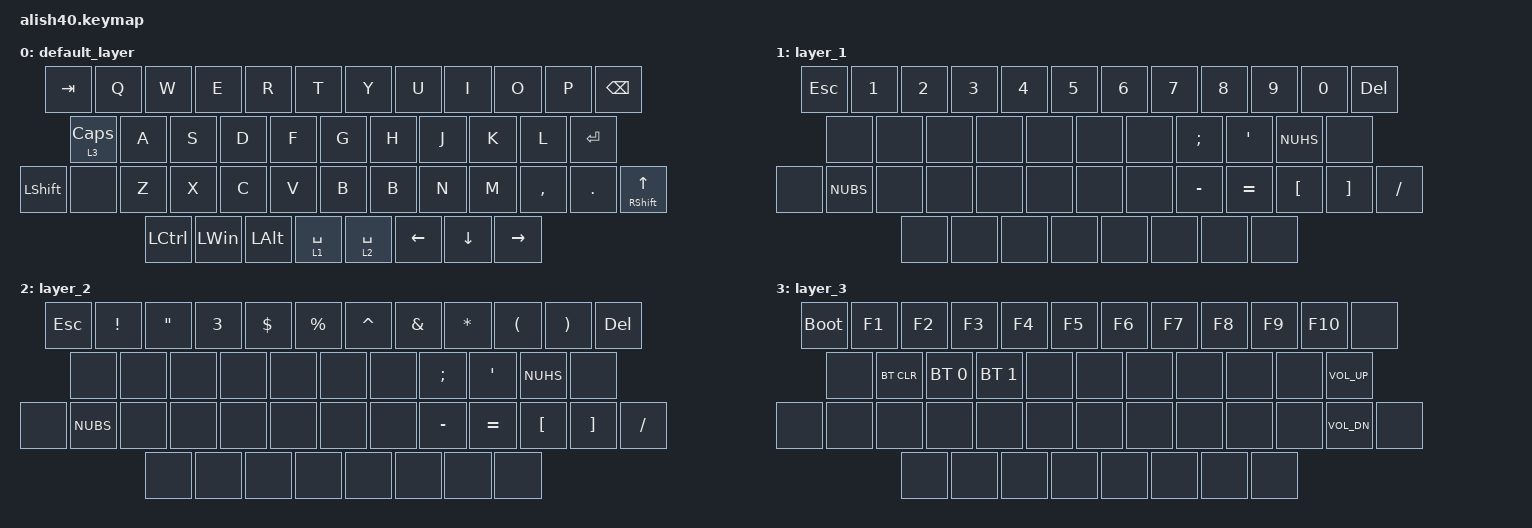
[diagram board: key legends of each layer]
/*
 * Copyright (c) 2020 The ZMK Contributors
 *
 * SPDX-License-Identifier: MIT
 */

#include <behaviors.dtsi>
#include <dt-bindings/zmk/keys.h>
#include <dt-bindings/zmk/bt.h>

/ {
    keymap {
        compatible = "zmk,keymap";

        default_layer {
            bindings = <
                &kp TAB   &kp Q   &kp W    &kp E   &kp R   &kp T               &kp Y   &kp U   &kp I   &kp O   &kp P   &kp BACKSPACE
                &lt 3 CAPS   &kp A   &kp S    &kp D   &kp F   &kp G                &kp H   &kp J   &kp K   &kp L   &kp RETURN
                &kp LSHIFT   &none   &kp Z   &kp X   &kp C   &kp V   &kp B     &kp B   &kp N   &kp M   &kp COMMA   &kp PERIOD   &mt RSHIFT UP_ARROW
                &kp LCTRL   &kp LWIN   &kp LALT   &lt 1 SPACE                  &lt 2 SPACE  &kp LEFT_ARROW   &kp DOWN_ARROW   &kp RIGHT_ARROW
            >;
        };

        layer_1 {
            bindings = <
                &kp ESC   &kp N1   &kp N2   &kp N3   &kp N4   &kp N5           &kp N6   &kp N7   &kp N8   &kp N9   &kp N0   &kp DEL  
                &none      &none   &none   &none   &none   &none                &none   &kp SEMI   &kp APOS   &kp NUHS    &none   
                &none        &kp NUBS   &none   &none   &none   &none   &none     &none   &kp MINUS   &kp EQUAL   &kp LBKT   &kp RBKT   &kp SLASH   
                &none   &none   &none   &none                                   &none   &none   &none   &none   
            >;
        };

         layer_2 {
            bindings = <
                &kp ESC   &kp EXCL   &kp DQT   &kp N3   &kp DLLR   &kp PRCNT           &kp CARET   &kp AMPS   &kp ASTRK   &kp LPAR   &kp RPAR   &kp DEL   
                &none      &none   &none   &none   &none   &none                &none   &kp SEMI   &kp APOS   &kp NUHS    &none   
                &none        &kp NUBS   &none   &none   &none   &none   &none     &none   &kp MINUS   &kp EQUAL   &kp LBKT   &kp RBKT   &kp SLASH   
                &none   &none   &none   &none                                   &none   &none   &none   &none   
            >;
        };
        
        layer_3 {
            bindings = <
                &bootloader   &kp F1   &kp F2   &kp F3   &kp F4   &kp F5        &kp F6   &kp F7   &kp F8   &kp F9   &kp F10   &none   
                &none   &bt BT_CLR   &bt BT_SEL 0   &bt BT_SEL 1   &none         &none   &none   &none   &none   &none  &kp C_VOL_UP 
                &none   &none   &none  &none   &none   &none   &none   &none   &none   &none   &none   &kp C_VOL_DN   &none 
                &none   &none   &none   &none   &none   &none   &none   &none   
            >;
            };
        };
    };
